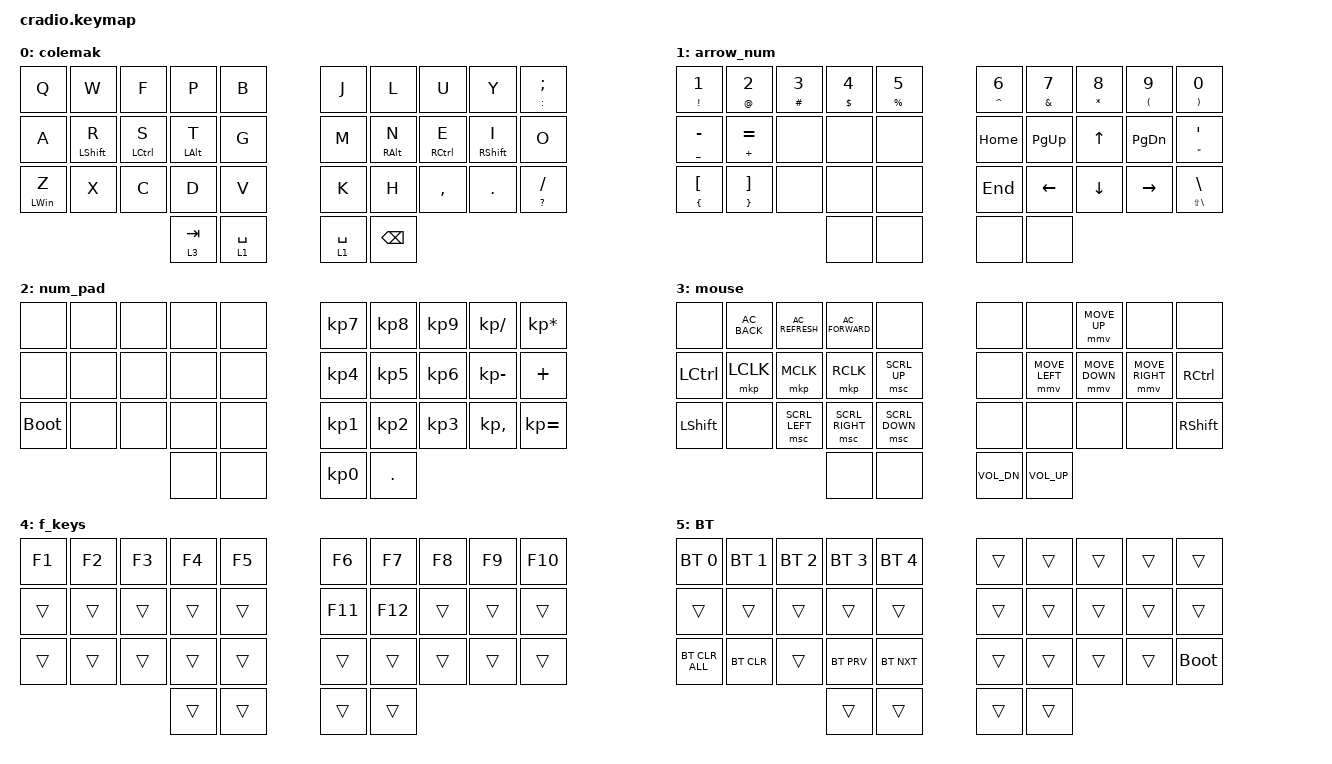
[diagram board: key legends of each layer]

#include <dt-bindings/zmk/mouse.h>
#include <input/processors.dtsi>
#include <behaviors.dtsi>
#include <dt-bindings/zmk/bt.h>
#include <dt-bindings/zmk/keys.h>
#include <dt-bindings/zmk/pointing.h>

/*

   &mmv_input_listener {
       input-processors = <&zip_xy_scaler 2 1>;
   };

   &msc_input_listener {
       input-processors = <&zip_xy_scaler 2 1>;
   };

 */

#define ZMK_MOUSE_DEFAULT_MOVE_VAL 1200  // 600
#define ZMK_MOUSE_DEFAULT_SCRL_VAL 20    // 10

&mt {
    tapping-term-ms = <200>;
    quick-tap-ms = <175>;
    flavor = "balanced";
    hold-trigger-key-positions = <16 17 18 13 12 11 20>;
    hold-trigger-on-release;
};

&mmv {
};

&msc {
};

&lt {
};

/ {
    behaviors {
        mmv {
            acceleration-exponent = <1>;      // 1
            time-to-max-speed-ms = <900>;    // 40
            delay-ms = <0>;                   // 0
        };

        msc {
            acceleration-exponent = <1>;      // 0
            time-to-max-speed-ms = <400>;      // 500
            delay-ms = <0>;                   //   10
        };
    };

    combos {
        compatible = "zmk,combos";

        esc {
            bindings = <&mt GRAVE ESCAPE>;
            key-positions = <0 1>;
            layers = <0>;
        };

        caps {
            bindings = <&kp CLCK>;
            key-positions = <10 11 12>;
        };

        backspace {
            bindings = <&kp DEL>;
            key-positions = <8 9>;
        };

        enter {
            bindings = <&kp ENTER>;
            key-positions = <18 17>;
        };

        reset_1 {
            bindings = <&sys_reset>;
            key-positions = <1 12 13 24>;
        };

        reset_2 {
            bindings = <&sys_reset>;
            key-positions = <17 8 16 25>;
        };

        copy_paste {
            bindings = <&mt RC(V) RC(C)>;
            key-positions = <29 28>;
        };

        print_screen {
            bindings = <&screenshot>;
            key-positions = <20 21 22>;
        };

        num_layer {
            bindings = <&to 2>;
            key-positions = <6 7 5>;
        };

        bt_layer {
            bindings = <&to 5>;
            key-positions = <4 3 2>;
        };

        default_layer {
            bindings = <&to 0>;
            key-positions = <15 16 17 18>;
        };

        f_layer {
            bindings = <&mo 4>;
            key-positions = <30 33>;
        };

        grave {
            bindings = <&mt LS(GRAVE) GRAVE>;
            key-positions = <0 1>;
            layers = <1>;
        };

        gui_tab {
            bindings = <&kp LG(TAB)>;
            key-positions = <31 32>;
        };

        shift_select {
            bindings = <&kp LEFT_SHIFT>;
            key-positions = <11 12>;
            layers = <1>;
        };

        mute {
            bindings = <&kp K_MUTE>;
            key-positions = <32 33>;
            layers = <3>;
        };

        back_num {
            bindings = <&kp BACKSPACE>;
            key-positions = <9 8>;
            layers = <2>;
        };
    };

    macros {
        screenshot: screenshot {
            compatible = "zmk,behavior-macro";
            #binding-cells = <0>;
            bindings =
                <&macro_press>,
                <&kp LS(LEFT_GUI)>,
                <&macro_tap>,
                <&kp S>,
                <&macro_release>,
                <&kp LS(LEFT_GUI)>;

            label = "SCREENSHOT";
        };
    };

    keymap {
        compatible = "zmk,keymap";

        colemak_dh {
            bindings = <
&kp Q           &kp W             &kp F        &kp P           &kp B        &kp J        &kp L            &kp U        &kp Y              &mt COLON SEMI
&kp A           &mt LEFT_SHIFT R  &mt LCTRL S  &mt LEFT_ALT T  &kp G        &kp M        &mt RIGHT_ALT N  &mt RCTRL E  &mt RIGHT_SHIFT I  &kp O
&mt LEFT_WIN Z  &kp X             &kp C        &kp D           &kp V        &kp K        &kp H            &kp COMMA    &kp DOT            &mt QUESTION SLASH
                                               &lt 3 TAB       &lt 1 SPACE  &lt 1 SPACE  &kp BACKSPACE
            >;

            label = "colemak";
        };

        arrow_numbers {
            label = "arrow_num";
            bindings = <
&mt EXCLAMATION NUMBER_1     &mt AT_SIGN NUMBER_2           &mt HASH NUMBER_3  &mt DOLLAR NUMBER_4  &mt PERCENT NUMBER_5  &mt CARET NUMBER_6  &mt AMPERSAND NUMBER_7  &mt ASTERISK NUMBER_8  &mt LEFT_PARENTHESIS NUMBER_9  &mt RIGHT_PARENTHESIS NUMBER_0
&mt UNDERSCORE MINUS         &mt PLUS EQUAL                 &none              &none                &none                 &kp HOME            &kp PAGE_UP             &kp UP_ARROW           &kp PAGE_DOWN                  &mt DOUBLE_QUOTES SQT
&mt LEFT_BRACE LEFT_BRACKET  &mt RIGHT_BRACE RIGHT_BRACKET  &none              &none                &none                 &kp END             &kp LEFT_ARROW          &kp DOWN               &kp RIGHT_ARROW                &mt LS(BACKSLASH) BACKSLASH
                                                                               &none                &none                 &none               &none
            >;
        };

        number_layer {
            label = "num_pad";
            bindings = <
&none        &none  &none  &none  &none  &kp KP_NUMBER_7  &kp KP_NUMBER_8  &kp KP_NUMBER_9  &kp KP_DIVIDE    &kp KP_MULTIPLY
&none        &none  &none  &none  &none  &kp KP_NUMBER_4  &kp KP_NUMBER_5  &kp KP_NUMBER_6  &kp KP_SUBTRACT  &kp PLUS
&bootloader  &none  &none  &none  &none  &kp KP_NUMBER_1  &kp KP_NUMBER_2  &kp KP_NUMBER_3  &kp KP_COMMA     &kp KP_EQUAL
                           &none  &none  &kp KP_NUMBER_0  &kp PERIOD
            >;
        };

        mouse_layer {
            label = "mouse";
            bindings = <
&none           &kp C_AC_BACK  &kp C_AC_REFRESH  &kp C_AC_FORWARD  &none           &none         &none           &mmv MOVE_UP    &none            &none
&kp LCTRL       &mkp LCLK      &mkp MCLK         &mkp RCLK         &msc SCRL_UP    &none         &mmv MOVE_LEFT  &mmv MOVE_DOWN  &mmv MOVE_RIGHT  &kp RCTRL
&kp LEFT_SHIFT  &none          &msc SCRL_LEFT    &msc SCRL_RIGHT   &msc SCRL_DOWN  &none         &none           &none           &none            &kp RIGHT_SHIFT
                                                 &none             &none           &kp C_VOL_DN  &kp C_VOL_UP
            >;
        };

        f_layer {
            label = "f_keys";
            bindings = <
&kp F1  &kp F2  &kp F3  &kp F4  &kp F5  &kp F6   &kp F7   &kp F8  &kp F9  &kp F10
&trans  &trans  &trans  &trans  &trans  &kp F11  &kp F12  &trans  &trans  &trans
&trans  &trans  &trans  &trans  &trans  &trans   &trans   &trans  &trans  &trans
                        &trans  &trans  &trans   &trans
            >;
        };

        bt_layer {
            label = "BT";
            bindings = <
&bt BT_SEL 0    &bt BT_SEL 1  &bt BT_SEL 2  &bt BT_SEL 3  &bt BT_SEL 4  &trans  &trans  &trans  &trans  &trans
&trans          &trans        &trans        &trans        &trans        &trans  &trans  &trans  &trans  &trans
&bt BT_CLR_ALL  &bt BT_CLR    &trans        &bt BT_PRV    &bt BT_NXT    &trans  &trans  &trans  &trans  &bootloader
                                            &trans        &trans        &trans  &trans
            >;
        };
    };
};
